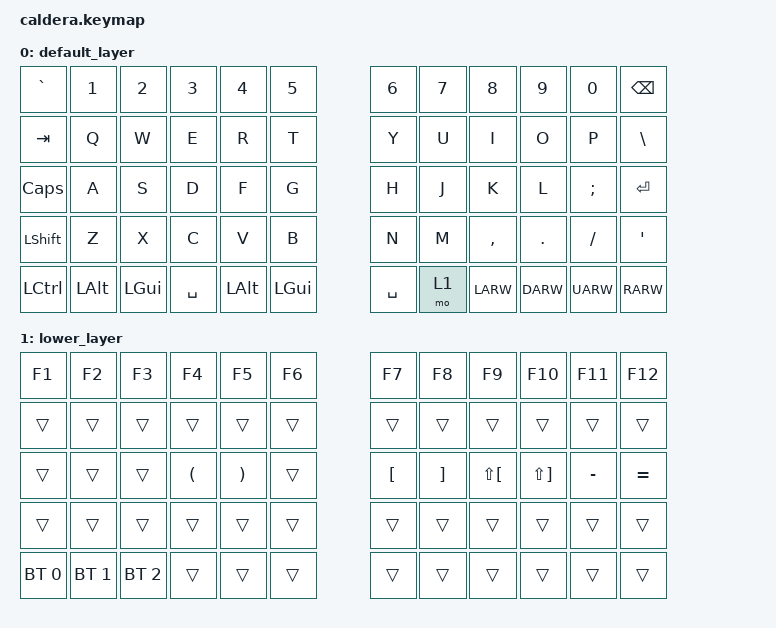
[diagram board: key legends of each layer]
#include <behaviors.dtsi>
#include <dt-bindings/zmk/keys.h>
#include <dt-bindings/zmk/bt.h>

/ {
        keymap {
                compatible = "zmk,keymap";

                default_layer {
// ---------------------------------------------------------------------------------
// |   `  |  1  |  2  |  3  |  4  |  5  |     |  6  |  7  |  8  |  9  |  0  | BKSP |
// |  TAB |  Q  |  W  |  E  |  R  |  T  |     |  Y  |  U  |  I  |  O  |  P  |  \   |
// | CAPS |  A  |  S  |  D  |  F  |  G  |     |  H  |  J  |  K  |  L  |  ;  |  ENT |
// | SHFT |  Z  |  X  |  C  |  V  |  B  |     |  N  |  M  |  ,  |  .  |  /  | APOS |
// | CTRL | ALT | GUI | SPC | SPC | SPC |     | SPC | LOW |LARW |DARW |UARW | RARW |
                        bindings = <
   &kp GRAVE  &kp N1    &kp N2    &kp N3     &kp N4     &kp N5               &kp N6     &kp N7  &kp N8     &kp N9    &kp N0    &kp BSPC
   &kp TAB    &kp Q     &kp W     &kp E      &kp R      &kp T                &kp Y      &kp U   &kp I      &kp O     &kp P     &kp BSLH
   &kp CAPS   &kp A     &kp S     &kp D      &kp F      &kp G                &kp H      &kp J   &kp K      &kp L     &kp SEMI  &kp RET
   &kp LSHFT  &kp Z     &kp X     &kp C      &kp V      &kp B                &kp N      &kp M   &kp COMMA  &kp DOT   &kp FSLH  &kp APOS
   &kp LCTRL  &kp LALT  &kp LGUI  &kp SPACE  &kp LALT   &kp LGUI             &kp SPACE  &mo 1   &kp LARW   &kp DARW  &kp UARW  &kp RARW
                        >;
                };

                lower_layer {
// ---------------------------------------------------------------------------------------------------------------
// |  F1  |  F2  |  F3  |  F4  |  F5  |  F6  |     |  F7  |  F8  |  F9  | F10  | F11 |  F12                          |
// |      |      |      |      |      |      |     |      |      |      |      |      |                           |
// |      |      |      | (    |  )   |      |     |  [   |  ]   |  {   |  }   |  -   |  =                         |
// |      |      |      |      |      |      |     |      |      |      |      |      |                           |
// | BT1  |  BT2 |  BT3 |      |      |      |     |      |      |      |      |      |                           |
                        bindings = <
   &kp F1         &kp F2         &kp F3         &kp F4         &kp F5         &kp F6         &kp F7         &kp F8         &kp F9         &kp F10        &kp F11        &kp F12
   &trans         &trans         &trans         &trans         &trans         &trans         &trans         &trans         &trans         &trans         &trans         &trans
   &trans         &trans         &trans         &kp LPAR       &kp RPAR       &trans         &kp LBKT       &kp RBKT       &kp LS(LBKT)   &kp LS(RBKT)   &kp MINUS      &kp EQUAL
   &trans         &trans         &trans         &trans         &trans         &trans         &trans         &trans         &trans         &trans         &trans         &trans
   &bt BT_SEL 0   &bt BT_SEL 1   &bt BT_SEL 2   &trans         &trans         &trans         &trans         &trans         &trans         &trans         &trans         &trans
                        >;
                };
        };
};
